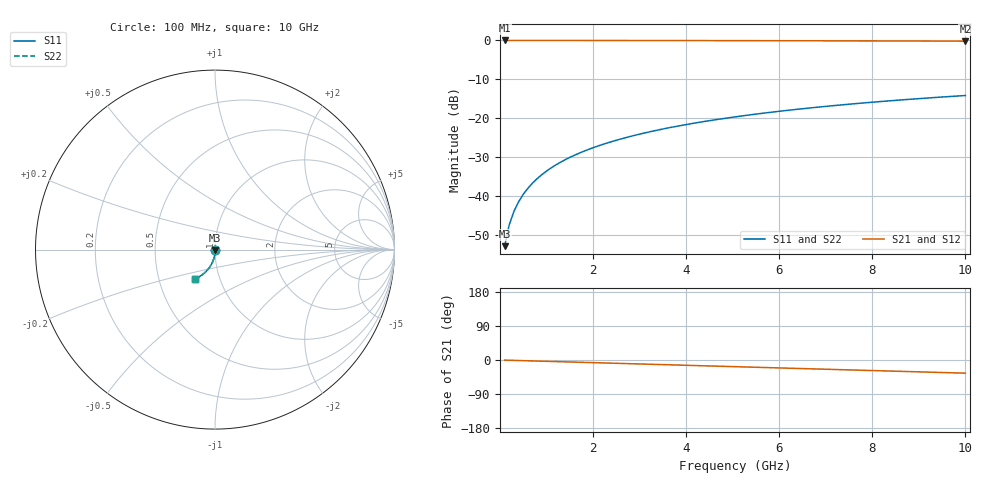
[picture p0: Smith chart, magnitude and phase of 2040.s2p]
# Hz S RI R 50.00
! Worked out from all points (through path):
!   100 points, 100 MHz to 10 GHz, reference 50 ohm
!   highest |S21| = -0.01 dB at 100 MHz (marker M1); lowest = -0.2 dB at 10 GHz (marker M2)
!   group delay of S21, straight-line fit = 9.66 ps
!   lowest |S11| = -52.9 dB at 100 MHz (marker M3), VSWR 1.00, Z = 50.1 - j0.209 ohm
!   |S11| at or under -10 dB: start of sweep to end of sweep
!   |S22| runs from -52.9 to -14.2 dB; largest |S21 - S12| = 0
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1e8  0.000854 -0.00209  0.9991 -0.00608  0.9991 -0.00608  0.000854 -0.00209
2e8  0.000817 -0.00418  0.999 -0.0122  0.999 -0.0122  0.000817 -0.00418
3e8  0.000754 -0.00627  0.9989 -0.0182  0.9989 -0.0182  0.000754 -0.00627
4e8  0.000665 -0.00835  0.9988 -0.0243  0.9988 -0.0243  0.000665 -0.00835
5e8  0.00055 -0.0104  0.9986 -0.0304  0.9986 -0.0304  0.00055 -0.0104
6e8  0.000409 -0.0125  0.9983 -0.0364  0.9983 -0.0364  0.000409 -0.0125
7e8  0.000243 -0.0146  0.9981 -0.0425  0.9981 -0.0425  0.000243 -0.0146
8e8  5.14e-05 -0.0167  0.9978 -0.0486  0.9978 -0.0486  5.14e-05 -0.0167
9e8  -0.000166 -0.0188  0.9974 -0.0547  0.9974 -0.0547  -0.000166 -0.0188
1.1e9  -0.000677 -0.0229  0.9966 -0.0668  0.9966 -0.0668  -0.000677 -0.0229
1.4e9  -0.00163 -0.0291  0.995 -0.0849  0.995 -0.0849  -0.00163 -0.0291
1.8e9  -0.00326 -0.0373  0.9923 -0.1091  0.9923 -0.1091  -0.00326 -0.0373
2.1e9  -0.00474 -0.0434  0.9899 -0.1272  0.9899 -0.1272  -0.00474 -0.0434
2.5e9  -0.00706 -0.0515  0.9861 -0.1512  0.9861 -0.1512  -0.00706 -0.0515
2.9e9  -0.00977 -0.0594  0.9816 -0.1751  0.9816 -0.1751  -0.00977 -0.0594
3.4e9  -0.0137 -0.0691  0.9752 -0.2047  0.9752 -0.2047  -0.0137 -0.0691
4.2e9  -0.0212 -0.0841  0.9628 -0.2516  0.9628 -0.2516  -0.0212 -0.0841
5.1e9  -0.0313 -0.1  0.9459 -0.3033  0.9459 -0.3033  -0.0313 -0.1
5.9e9  -0.0417 -0.1132  0.9283 -0.3483  0.9283 -0.3483  -0.0417 -0.1132
6.7e9  -0.0533 -0.1252  0.9084 -0.3921  0.9084 -0.3921  -0.0533 -0.1252
8.4e9  -0.0813 -0.1466  0.8591 -0.4807  0.8591 -0.4807  -0.0813 -0.1466
1e10  -0.1109 -0.1611  0.8047 -0.558  0.8047 -0.558  -0.1109 -0.1611
